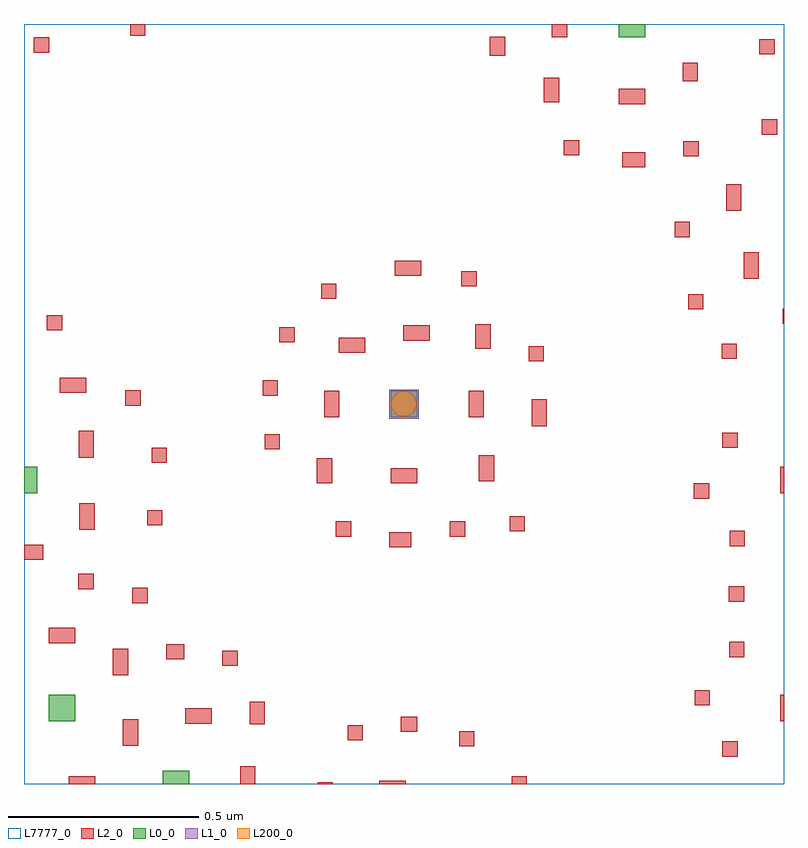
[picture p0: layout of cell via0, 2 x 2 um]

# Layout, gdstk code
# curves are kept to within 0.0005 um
import gdstk
lib = gdstk.Library(unit=1e-6, precision=1e-09)
def R(c, l, rs):  # rectangles x0, y0, x1, y1
    for r in rs: c.add(gdstk.rectangle(r[:2], r[2:], *l))
def P(c, l, *ps):  # polygons
    for p in ps: c.add(gdstk.Polygon(p, *l))
L0_0 = (0, 0)
L1_0 = (1, 0)
L2_0 = (2, 0)
L200_0 = (200, 0)
L7777_0 = (7777, 0)

via0 = lib.new_cell('via0')
R(via0, L0_0, [(59.315,54.5,59.385,54.535), (59.015,54.665,59.085,54.735), (58.95,55.265,58.985,55.335), (59.915,55.465,59.985,55.535), (60.515,56.465,60.585,56.5)])
R(via0, L1_0, [(59.911,55.461,59.989,55.538)])
R(via0, L2_0, [(59.068,54.5,59.138,54.52), (59.519,54.5,59.559,54.547), (59.723,54.5,59.763,54.504), (59.885,54.5,59.955,54.508), (60.233,54.5,60.273,54.52), (60.788,54.572,60.828,54.612), (60.095,54.599,60.135,54.639), (59.21,54.601,59.25,54.671), (59.802,54.615,59.842,54.655), (59.942,54.637,59.985,54.677), (59.544,54.657,59.584,54.716), (59.374,54.659,59.444,54.699), (60.94,54.665,60.95,54.735), (60.715,54.707,60.755,54.747), (59.184,54.786,59.224,54.856), (59.472,54.811,59.512,54.851), (59.324,54.828,59.372,54.868), (60.806,54.834,60.846,54.874), (59.015,54.871,59.085,54.911), (59.235,54.976,59.275,55.016), (60.805,54.98,60.845,55.02), (59.093,55.013,59.133,55.053), (58.95,55.09,59,55.13), (59.911,55.123,59.969,55.163), (60.807,55.126,60.847,55.166), (59.771,55.151,59.811,55.191), (60.07,55.151,60.111,55.191), (60.228,55.165,60.268,55.205), (59.096,55.169,59.136,55.239), (59.274,55.181,59.314,55.221), (60.713,55.251,60.753,55.291), (60.94,55.265,60.95,55.335), (59.721,55.291,59.761,55.357), (59.915,55.291,59.985,55.331), (60.147,55.297,60.187,55.365), (59.286,55.345,59.326,55.385), (59.094,55.359,59.134,55.429), (59.583,55.381,59.623,55.421), (60.788,55.385,60.828,55.425), (60.286,55.442,60.326,55.512), (59.74,55.465,59.78,55.535), (60.12,55.465,60.16,55.535), (59.217,55.496,59.257,55.536), (59.578,55.522,59.618,55.562), (59.044,55.529,59.114,55.569), (60.278,55.612,60.318,55.652), (60.786,55.619,60.826,55.659), (59.778,55.635,59.848,55.675), (60.138,55.646,60.178,55.71), (59.622,55.662,59.662,55.702), (59.948,55.667,60.018,55.707), (59.01,55.694,59.05,55.734), (60.947,55.711,60.95,55.751), (60.698,55.749,60.738,55.789), (59.732,55.777,59.772,55.817), (60.101,55.81,60.141,55.85), (60.844,55.829,60.884,55.899), (59.926,55.837,59.996,55.877), (60.662,55.939,60.702,55.979), (60.798,56.008,60.838,56.078), (60.524,56.123,60.585,56.163), (60.685,56.152,60.725,56.192), (60.371,56.154,60.411,56.194), (60.892,56.209,60.932,56.249), (60.515,56.289,60.585,56.329), (60.318,56.294,60.358,56.359), (60.683,56.349,60.723,56.398), (60.176,56.417,60.216,56.467), (60.885,56.42,60.925,56.46), (58.976,56.425,59.016,56.465), (60.339,56.465,60.379,56.5), (59.229,56.469,59.269,56.5)])
P(via0, L200_0, [(59.944,55.466),(59.934,55.469),(59.925,55.476),(59.918,55.487),(59.915,55.496),(59.915,55.505),(59.918,55.514),(59.925,55.524),(59.938,55.533),(59.953,55.535),(59.961,55.533),(59.971,55.527),(59.98,55.516),(59.984,55.505),(59.984,55.496),(59.976,55.477),(59.963,55.468)])
R(via0, L7777_0, [(58.95,54.5,60.95,56.5)])

lib.write_gds('via0.gds')
